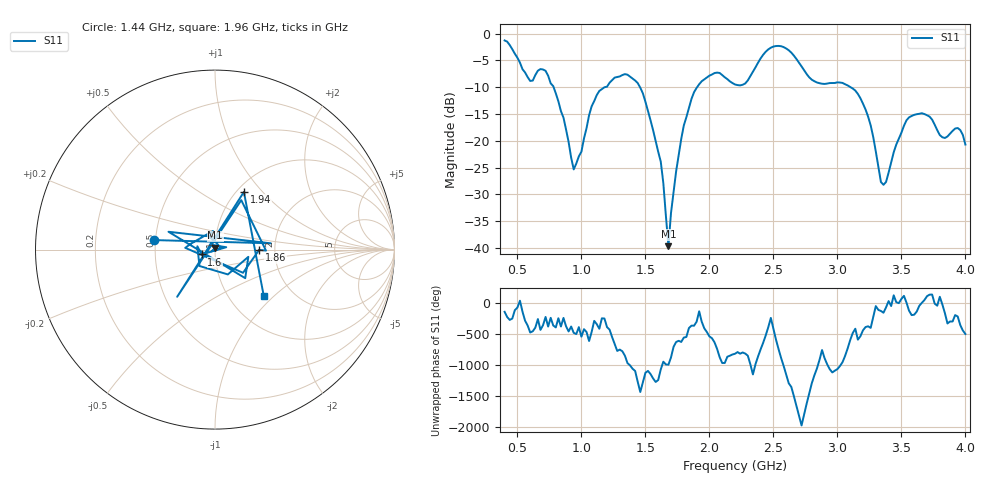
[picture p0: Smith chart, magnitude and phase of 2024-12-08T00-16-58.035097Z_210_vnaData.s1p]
!Created with skrf (http://scikit-rf.org).
# Hz S RI R 50.0
!freq ReS11 ImS11
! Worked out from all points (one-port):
!   181 points, 400 MHz to 4 GHz, reference 50 ohm
!   lowest |S11| = -39.6 dB at 1.68 GHz (marker M1), VSWR 1.02, Z = 50 + j1.04 ohm
!   |S11| at or under -10 dB: 783 MHz to 1.181 GHz (398 MHz wide, 40.5 % of centre); 1.458 GHz to 1.904 GHz (445.5 MHz wide, 26.5 % of centre); 3.104 GHz to end of sweep
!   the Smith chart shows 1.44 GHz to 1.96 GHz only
!   S11 on the Smith chart (normalised r, x): 1.44 GHz: 0.49, +0.06; 1.6 GHz: 0.86, -0.05; 1.86 GHz: 1.65, -0.01; 1.94 GHz: 1.08, +0.80; 1.96 GHz: 1.44, -0.86
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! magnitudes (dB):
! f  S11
! 400 MHz  -1.3
! 600 MHz  -8.8
! 720 MHz  -6.9
! 860 MHz  -15.7
! 940 MHz  -25.3
! 1.12 GHz  -11.5
! 1.3 GHz  -8.0
! 1.44 GHz  -9.2
! 1.6 GHz  -22.0
! 1.64 GHz  -27.9
! 1.68 GHz  -39.6
! 1.7 GHz  -33.4
! 1.76 GHz  -22.7
! 1.86 GHz  -12.2
! 1.94 GHz  -8.9
! 1.96 GHz  -8.5
! 2.2 GHz  -9.5
! 2.48 GHz  -2.6
! 2.66 GHz  -4.1
! 2.82 GHz  -8.9
! 3.1 GHz  -9.9
! 3.24 GHz  -15.5
! 3.36 GHz  -28.2
! 3.56 GHz  -15.6
! 3.72 GHz  -15.5
! 3.84 GHz  -19.5
! 3.94 GHz  -17.6
! 4 GHz  -20.7
